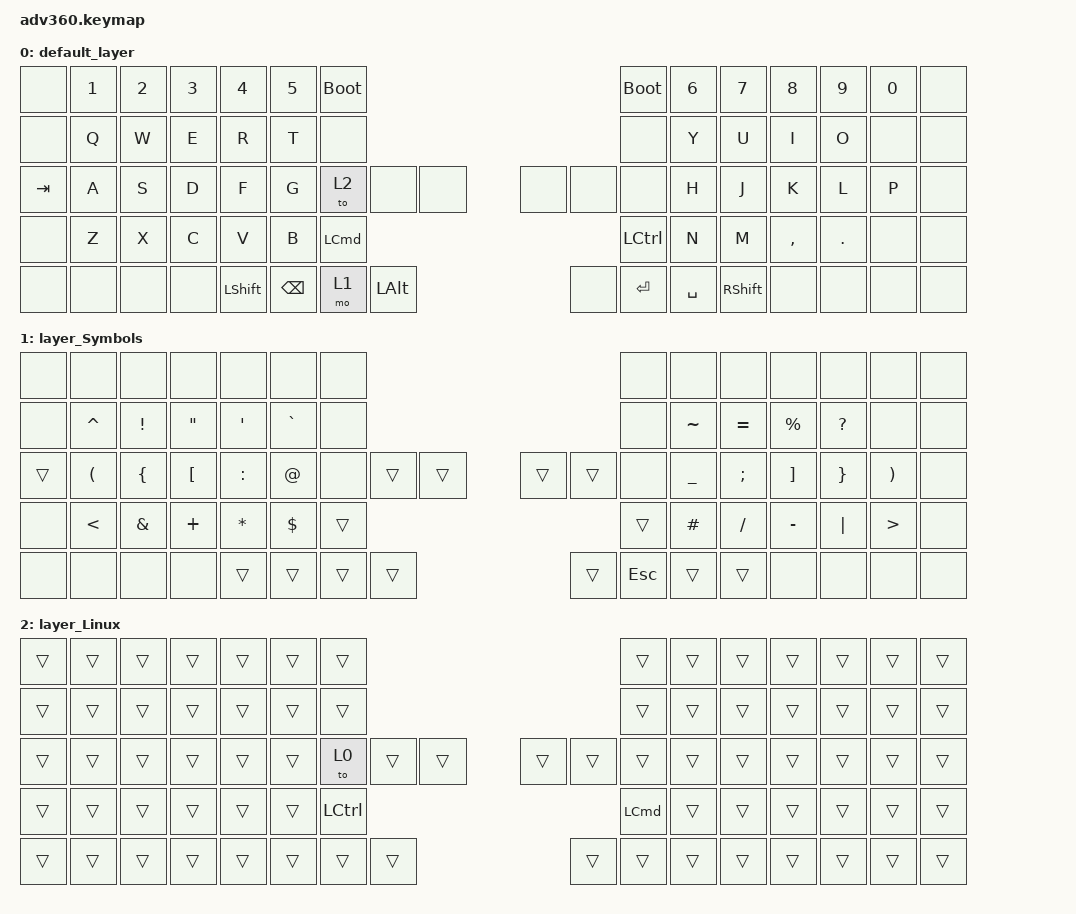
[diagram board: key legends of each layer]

/*
 * Copyright (c) 2020 The ZMK Contributors
 *
 * SPDX-License-Identifier: MIT
 */


/* THIS FILE WAS GENERATED!
 *
 * This file was generated automatically. You may or may not want to
 * edit it directly.
 */

#include <behaviors.dtsi>
#include <dt-bindings/zmk/keys.h>

/ {
  behaviors {
    #include "macros.dtsi"
    #include "version.dtsi"

    hm: homerow_mods {
        compatible = "zmk,behavior-hold-tap";
        label = "HOMEROW_MODS";
        #binding-cells = <2>;
        tapping-term-ms = <200>;
        quick_tap_ms = <175>;
        flavor = "tap-preferred";
        bindings = <&kp>, <&kp>;
    };
  };

    keymap {
        compatible = "zmk,keymap";


        default_layer {
            bindings = <
   &none  &kp NUMBER_1  &kp NUMBER_2  &kp NUMBER_3    &kp NUMBER_4  &kp NUMBER_5              &bootloader                                                                         &bootloader  &kp NUMBER_6     &kp NUMBER_7  &kp NUMBER_8  &kp NUMBER_9  &kp NUMBER_0   &none
   &none         &kp Q         &kp W         &kp E           &kp R         &kp T                    &none                                                                               &none         &kp Y            &kp U         &kp I         &kp O         &none   &none
 &kp TAB         &kp A         &kp S         &kp D           &kp F         &kp G                    &to 2   &none             &none                             &none      &none        &none         &kp H            &kp J         &kp K         &kp L         &kp P   &none
   &none         &kp Z         &kp X         &kp C           &kp V         &kp B                                   &kp LEFT_COMMAND                  &kp LEFT_CONTROL                                 &kp N            &kp M     &kp COMMA       &kp DOT         &none   &none
   &none         &none         &none         &none  &kp LEFT_SHIFT                          &kp BACKSPACE   &mo 1      &kp LEFT_ALT                             &none  &kp ENTER    &kp SPACE                &kp RIGHT_SHIFT         &none         &none         &none   &none
            >;
        };

        layer_Symbols {
            bindings = <
  &none                 &none            &none              &none             &none        &none             &none                                                       &none           &none          &none              &none            &none                  &none   &none
  &none             &kp CARET  &kp EXCLAMATION  &kp DOUBLE_QUOTES  &kp SINGLE_QUOTE    &kp GRAVE             &none                                                       &none       &kp TILDE      &kp EQUAL        &kp PERCENT     &kp QUESTION                  &none   &none
 &trans  &kp LEFT_PARENTHESIS   &kp LEFT_BRACE   &kp LEFT_BRACKET         &kp COLON  &kp AT_SIGN             &none  &trans  &trans                  &trans      &trans   &none  &kp UNDERSCORE  &kp SEMICOLON  &kp RIGHT_BRACKET  &kp RIGHT_BRACE  &kp RIGHT_PARENTHESIS   &none
  &none         &kp LESS_THAN    &kp AMPERSAND           &kp PLUS          &kp STAR   &kp DOLLAR                            &trans                  &trans                            &kp HASH      &kp SLASH          &kp MINUS         &kp PIPE       &kp GREATER_THAN   &none
  &none                 &none            &none              &none            &trans                         &trans  &trans  &trans                  &trans  &kp ESCAPE  &trans                         &trans              &none            &none                  &none   &none
            >;
        };

        layer_Linux {
            bindings = <
 &trans  &trans  &trans  &trans  &trans  &trans            &trans                                                                      &trans  &trans  &trans  &trans  &trans  &trans  &trans
 &trans  &trans  &trans  &trans  &trans  &trans            &trans                                                                      &trans  &trans  &trans  &trans  &trans  &trans  &trans
 &trans  &trans  &trans  &trans  &trans  &trans             &to 0  &trans            &trans                            &trans  &trans  &trans  &trans  &trans  &trans  &trans  &trans  &trans
 &trans  &trans  &trans  &trans  &trans  &trans                            &kp LEFT_CONTROL                  &kp LEFT_COMMAND                  &trans  &trans  &trans  &trans  &trans  &trans
 &trans  &trans  &trans  &trans  &trans                    &trans  &trans            &trans                            &trans  &trans  &trans          &trans  &trans  &trans  &trans  &trans
            >;
        };

    };
};
